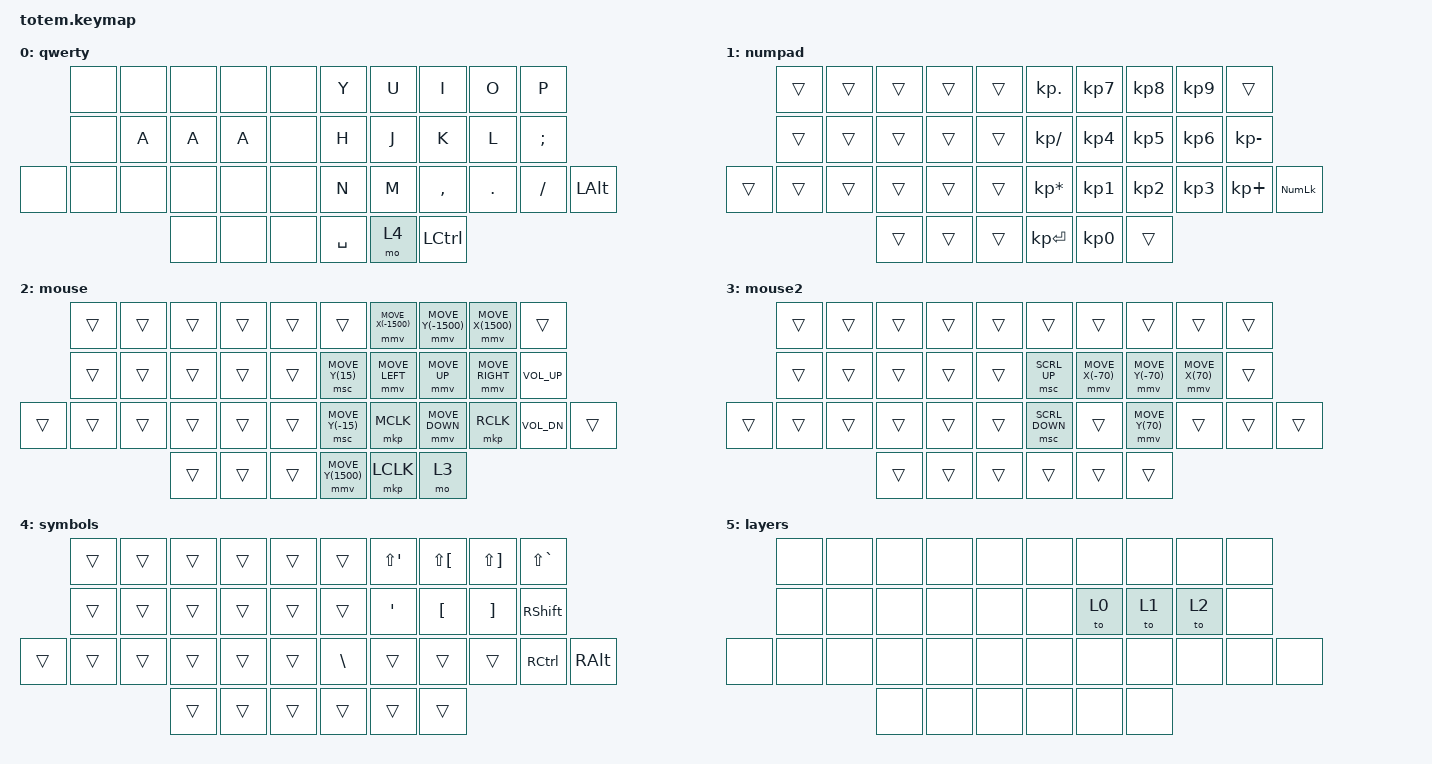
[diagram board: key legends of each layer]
//
//                                                        ▀▀▀▀▀     ▀▀▀▀▀          ▀▀█▀▀
//                                                        ▄▀▀▀▄  ▄  ▄▀▀▀▄  ▄  ▄▀▀▀▄  █  ▄▀▀▀▄
//                                                        █   █  █  █   █  █  █   █  █  █   █
//                                                         ▀▀▀   █   ▀▀▀   █   ▀▀▀   ▀   ▀▀▀
//                                                               █      ▄▄▄█▄▄▄    █   █  
//                                                               ▀      █  █  █     █▄█
//                                                             ▀▀▀▀▀    █  █  █      ▀
//                                                                      ▀  ▀  ▀
//
// ▄▄▄▄▄▄▄▄▄▄▄▄▄▄▄▄▄▄▄▄▄▄▄▄▄▄▄▄▄▄▄▄▄▄▄▄▄▄▄▄▄▄▄▄▄▄▄▄▄▄▄▄▄▄▄▄▄▄▄▄▄▄▄▄▄▄▄▄▄▄▄▄▄▄▄▄▄▄▄▄▄▄▄▄▄▄▄▄▄▄▄▄▄▄▄▄▄▄▄▄▄▄▄▄▄▄▄▄▄▄▄▄▄▄▄▄▄▄▄▄▄▄▄▄▄▄▄▄▄▄▄▄▄▄▄▄▄▄▄▄▄▄▄▄▄▄▄▄▄

#include <behaviors.dtsi>
#include <dt-bindings/zmk/keys.h>
#include <dt-bindings/zmk/pointing.h>

#define qwerty  0
#define numpad  1
#define mouse  2
#define mouse2 3
#define symbols 4
#define layers 5
#define ZMK_POINTING_DEFAULT_MOVE_VAL 300  // default: 600
#define ZMK_POINTING_DEFAULT_SCRL_VAL 2    // default: 10

&mmv {
    time-to-max-speed-ms = <0>;
    acceleration-exponent = <0>;
};

/ {
    combos {
        compatible = "zmk,combos";

        lyrs {
            bindings = <&kp A>;
            key-positions = <29 27>;
        };
    };

    keymap {
        compatible = "zmk,keymap";

        qwerty {
            bindings = <
       &none  &none  &none  &none  &none    &kp Y      &kp U  &kp I      &kp O    &kp P
       &none  &kp A  &kp A  &kp A  &none    &kp H      &kp J  &kp K      &kp L    &kp SEMI
&none  &none  &none  &none  &none  &none    &kp N      &kp M  &kp COMMA  &kp DOT  &kp FSLH  &kp LALT
                     &none  &none  &none    &kp SPACE  &mo 4  &kp LCTRL
            >;

            label = "qwerty";
        };

        numpad {
            bindings = <
        &trans  &trans  &trans  &trans  &trans    &kp KP_DOT       &kp KP_N7        &kp KP_N8  &kp KP_N9  &trans
        &trans  &trans  &trans  &trans  &trans    &kp KP_DIVIDE    &kp KP_NUMBER_4  &kp KP_N5  &kp KP_N6  &kp KP_MINUS
&trans  &trans  &trans  &trans  &trans  &trans    &kp KP_MULTIPLY  &kp KP_N1        &kp KP_N2  &kp KP_N3  &kp KP_PLUS   &kp KP_NUM
                        &trans  &trans  &trans    &kp KP_ENTER     &kp KP_N0        &trans
            >;

            label = "numpad";
        };

        mouse {
            bindings = <
        &trans  &trans  &trans  &trans  &trans    &trans             &mmv MOVE_X(-1500)  &mmv MOVE_Y(-1500)  &mmv MOVE_X(1500)  &trans
        &trans  &trans  &trans  &trans  &trans    &msc MOVE_Y(15)    &mmv MOVE_LEFT      &mmv MOVE_UP        &mmv MOVE_RIGHT    &kp C_VOLUME_UP
&trans  &trans  &trans  &trans  &trans  &trans    &msc MOVE_Y(-15)   &mkp MCLK           &mmv MOVE_DOWN      &mkp RCLK          &kp C_VOL_DN     &trans
                        &trans  &trans  &trans    &mmv MOVE_Y(1500)  &mkp LCLK           &mo 3
            >;

            label = "mouse";
        };

        mouse2 {
            bindings = <
        &trans  &trans  &trans  &trans  &trans    &trans          &trans            &trans            &trans           &trans
        &trans  &trans  &trans  &trans  &trans    &msc SCRL_UP    &mmv MOVE_X(-70)  &mmv MOVE_Y(-70)  &mmv MOVE_X(70)  &trans
&trans  &trans  &trans  &trans  &trans  &trans    &msc SCRL_DOWN  &trans            &mmv MOVE_Y(70)   &trans           &trans  &trans
                        &trans  &trans  &trans    &trans          &trans            &trans
            >;

            label = "mouse2";
        };

        symbols {
            bindings = <
        &trans  &trans  &trans  &trans  &trans    &trans    &kp LS(APOS)  &kp LS(LBKT)  &kp LS(RBKT)  &kp LS(GRAVE)
        &trans  &trans  &trans  &trans  &trans    &trans    &kp APOS      &kp LBKT      &kp RBKT      &kp RSHFT
&trans  &trans  &trans  &trans  &trans  &trans    &kp BSLH  &trans        &trans        &trans        &kp RCTRL      &kp RALT
                        &trans  &trans  &trans    &trans    &trans        &trans
            >;

            label = "symbols";
        };

        layers {
            bindings = <
       &none  &none  &none  &none  &none    &none  &none  &none  &none  &none
       &none  &none  &none  &none  &none    &none  &to 0  &to 1  &to 2  &none
&none  &none  &none  &none  &none  &none    &none  &none  &none  &none  &none  &none
                     &none  &none  &none    &none  &none  &none
            >;

            label = "layers";
        };
    };
};
